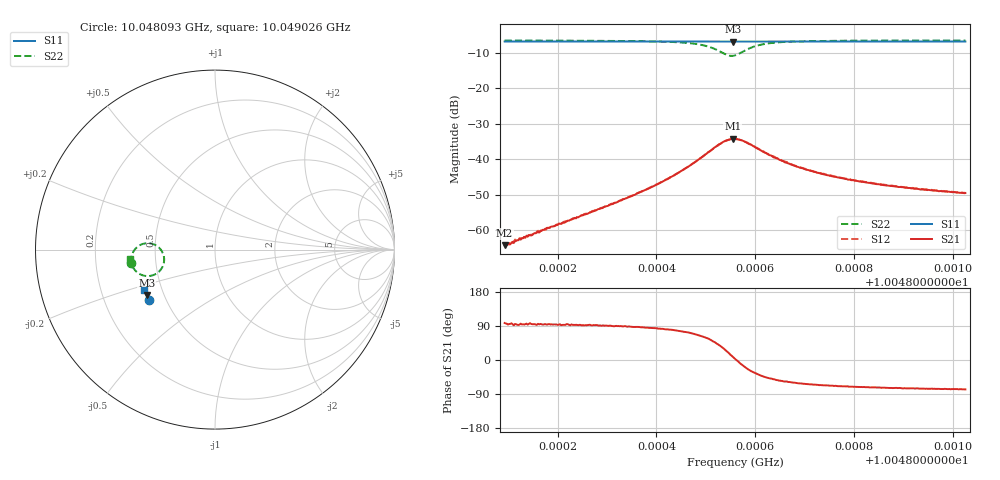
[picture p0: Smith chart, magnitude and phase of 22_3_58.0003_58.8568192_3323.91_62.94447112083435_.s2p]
#  HZ  S  RI  R  50.00
! Rohde & Schwarz Vector Network Analyzer
! Rohde-Schwarz,ZNB20-2Port,1311601062101988,3.16
! Created: UTC 3/21/2024, 12:51:14 AM
! freq[Hz]  re:S11  im:S11  re:S21  im:S21  re:S12  im:S12  re:S22  im:S22
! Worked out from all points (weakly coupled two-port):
!   401 points, 10.048093 GHz to 10.049026 GHz, reference 50 ohm
!   highest |S21| = -34.23 dB at 10.048555 GHz (marker M1); lowest = -64.3 dB at 10.048093 GHz (marker M2)
!   lowest |S11| = -6.8 dB at 10.048555 GHz (marker M3), VSWR 2.68, Z = 20.1 - j12.8 ohm
!   |S11| at or under -10 dB: nowhere
!   |S22| runs from -10.8 to -6.5 dB; largest |S21 - S12| = 0.0015
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1.00480926e10  -0.365 -0.2792  -8.15e-05 0.000605  -6.72e-05 0.000625  -0.4675 -0.0743
1.00480996e10  -0.3652 -0.2787  -3.94e-05 0.000639  -8.1e-05 0.000626  -0.4675 -0.0737
1.00481183e10  -0.3661 -0.2778  -3.61e-05 0.000722  -0.000107 0.000707  -0.4676 -0.0718
1.00481743e10  -0.368 -0.2747  -8.86e-05 0.00104  -0.00014 0.00101  -0.4678 -0.065
1.0048249e10  -0.371 -0.2706  -2.91e-05 0.00162  -0.000151 0.00161  -0.4674 -0.0547
1.00483516e10  -0.3749 -0.2647  0.000138 0.00307  -7.51e-05 0.00307  -0.4642 -0.0341
1.00484053e10  -0.3768 -0.2614  0.000562 0.00452  0.000282 0.00458  -0.458 -0.0172
1.0048445e10  -0.3781 -0.2591  0.00148 0.00631  0.00111 0.00639  -0.4467 0.000885
1.00484753e10  -0.379 -0.2572  0.00313 0.00826  0.00267 0.00844  -0.4276 0.019
1.00484963e10  -0.3797 -0.2558  0.0055 0.00983  0.00494 0.0101  -0.4026 0.0315
1.0048515e10  -0.38 -0.2546  0.00924 0.0106  0.00859 0.0112  -0.3663 0.0354
1.00485383e10  -0.38 -0.2534  0.0159 0.00841  0.0151 0.00947  -0.3067 0.0055
1.00485547e10  -0.3801 -0.2528  0.0192 0.0029  0.0189 0.0042  -0.2833 -0.0496
1.00485593e10  -0.3803 -0.2528  0.0193 0.000992  0.0192 0.00239  -0.284 -0.0675
1.0048571e10  -0.3807 -0.2526  0.0183 -0.00333  0.0186 -0.00195  -0.2989 -0.1072
1.0048585e10  -0.3815 -0.2524  0.0154 -0.00684  0.0161 -0.00559  -0.3308 -0.1363
1.00486177e10  -0.383 -0.2509  0.00907 -0.00874  0.00988 -0.0082  -0.3957 -0.1453
1.00486644e10  -0.3852 -0.2481  0.00492 -0.00744  0.00531 -0.00744  -0.4366 -0.1241
1.00487157e10  -0.3872 -0.2451  0.0029 -0.00611  0.00331 -0.00601  -0.4534 -0.1044
1.00487904e10  -0.3898 -0.2408  0.00173 -0.00486  0.0021 -0.00482  -0.4631 -0.0854
1.00488721e10  -0.3926 -0.2361  0.00118 -0.00406  0.00141 -0.00401  -0.4677 -0.0714
1.00490261e10  -0.3977 -0.2269  0.000721 -0.00326  0.000926 -0.00322  -0.4714 -0.0529
